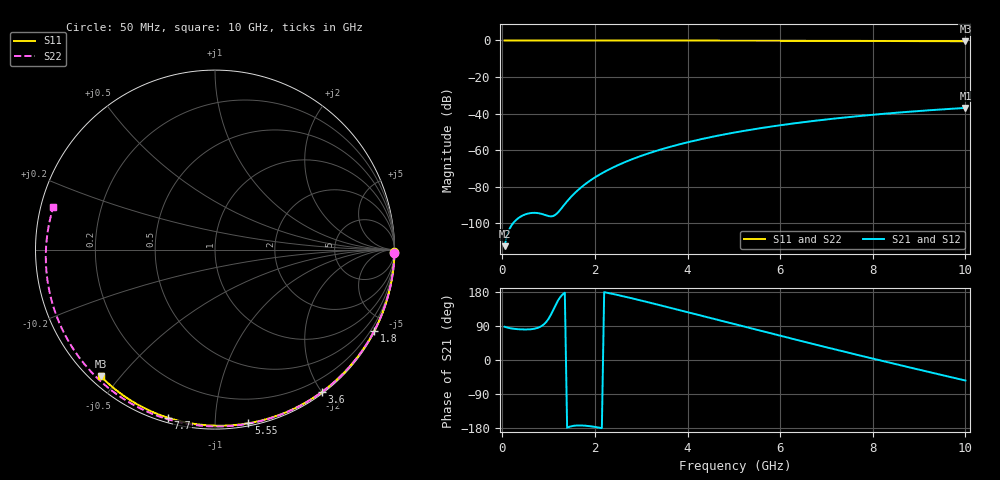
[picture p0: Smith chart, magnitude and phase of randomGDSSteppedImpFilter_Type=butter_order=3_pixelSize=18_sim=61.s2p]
! freq	dB(S11)	phase(S11)	dB(S12)	phase(S12)
!  dB(S21)	phase(S21)	dB(S22)	phase(S22)
!S-par simulation data
#  GHz  S  DB  R 50
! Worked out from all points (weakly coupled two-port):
!   200 points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, 50 MHz to 10 GHz, reference 50 ohm
!   highest |S21| = -36.93 dB at 10 GHz (marker M1); lowest = -112.6 dB at 50 MHz (marker M2)
!   lowest |S11| = -0.4 dB at 10 GHz (marker M3), VSWR 38.93, Z = 1.54 - j22.2 ohm
!   |S11| at or under -10 dB: nowhere
!   |S22| runs from -0.6 to 0.0 dB; largest |S21 - S12| = 0
!   S11 on the Smith chart (normalised r, x): 50 MHz: open; 1.8 GHz: 0.04, -4.14; 3.6 GHz: 0.02, -2.00; 5.55 GHz: 0.02, -1.21; 7.7 GHz: 0.02, -0.76; 10 GHz: 0.03, -0.44
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0.05  -0.00 -0.8  -112.57 87.8  -112.57 87.8  -0.00 -1.1
0.45  -0.01 -6.9  -95.67 80.6  -95.67 80.6  -0.01 -9.9
0.85  -0.02 -12.9  -94.91 89.8  -94.91 89.8  -0.02 -18.6
1.25  -0.02 -19.0  -92.71 165.7  -92.71 165.7  -0.03 -27.2
1.7  -0.03 -25.7  -80.44 -172.7  -80.44 -172.7  -0.05 -36.8
1.75  -0.03 -26.4  -79.42 -173.0  -79.42 -173.0  -0.05 -37.8
1.8  -0.03 -27.1  -78.44 -173.5  -78.44 -173.5  -0.05 -38.9
2.1  -0.04 -31.5  -73.41 -178.7  -73.41 -178.7  -0.06 -45.1
2.5  -0.05 -37.4  -68.21 171.3  -68.21 171.3  -0.07 -53.4
2.9  -0.06 -43.1  -64.06 159.9  -64.06 159.9  -0.08 -61.5
3.4  -0.07 -50.2  -59.84 144.7  -59.84 144.7  -0.09 -71.4
3.6  -0.07 -53.0  -58.38 138.6  -58.38 138.6  -0.10 -75.3
4.3  -0.09 -62.7  -53.98 116.8  -53.98 116.8  -0.13 -88.7
5.05  -0.11 -72.7  -50.21 93.3  -50.21 93.3  -0.16 -102.6
5.55  -0.13 -79.2  -48.10 77.8  -48.10 77.8  -0.18 -111.7
6.1  -0.15 -86.1  -46.05 60.9  -46.05 60.9  -0.22 -121.6
6.7  -0.18 -93.6  -44.10 42.6  -44.10 42.6  -0.26 -132.3
7.7  -0.24 -105.6  -41.38 12.5  -41.38 12.5  -0.34 -150.2
8.35  -0.29 -113.2  -39.89 -6.6  -39.89 -6.6  -0.41 -162.1
9.2  -0.36 -123.0  -38.23 -31.3  -38.23 -31.3  -0.51 -178.4
9.6  -0.40 -127.6  -37.55 -42.8  -37.55 -42.8  -0.56 173.6
10  -0.45 -132.1  -36.93 -54.1  -36.93 -54.1  -0.62 165.3
